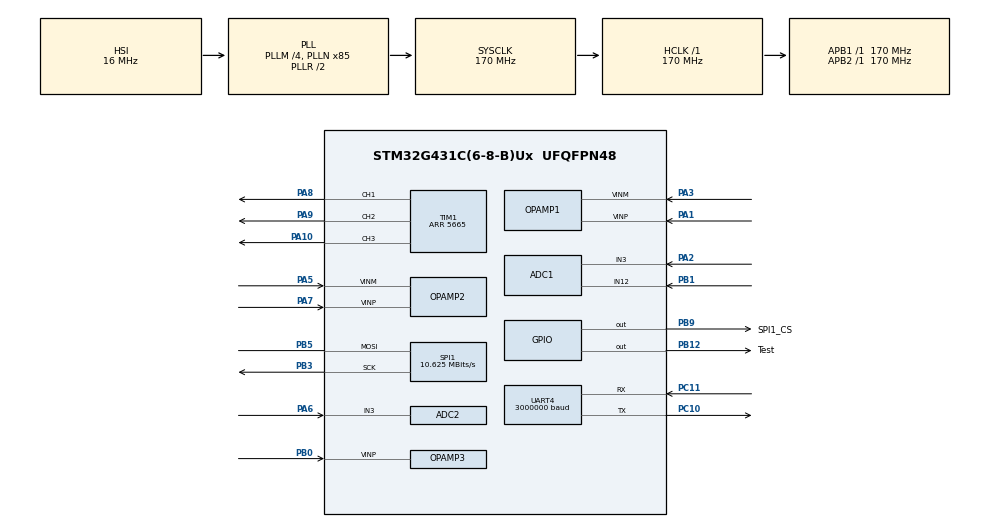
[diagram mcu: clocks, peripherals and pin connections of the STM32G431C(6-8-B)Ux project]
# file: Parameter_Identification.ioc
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ADC1.Channel-0\#ChannelRegularConversion=ADC_CHANNEL_3
ADC1.ClockPrescaler=ADC_CLOCK_SYNC_PCLK_DIV4
ADC1.EnableInjectedConversion=ENABLE
ADC1.EnableInjectedOversampling=DISABLE
ADC1.ExternalTrigInjecConv=ADC_EXTERNALTRIGINJEC_T1_CC4
ADC1.InjNumberOfConversion=2
ADC1.InjectedChannel-1\#ChannelInjectedConversion=ADC_CHANNEL_3
ADC1.InjectedChannel-2\#ChannelInjectedConversion=ADC_CHANNEL_12
ADC1.InjectedOffsetNumber-1\#ChannelInjectedConversion=ADC_OFFSET_NONE
ADC1.InjectedOffsetNumber-2\#ChannelInjectedConversion=ADC_OFFSET_NONE
ADC1.InjectedRank-1\#ChannelInjectedConversion=1
ADC1.InjectedRank-2\#ChannelInjectedConversion=2
ADC1.InjectedSamplingTime-1\#ChannelInjectedConversion=ADC_SAMPLETIME_2CYCLES_5
ADC1.InjectedSamplingTime-2\#ChannelInjectedConversion=ADC_SAMPLETIME_2CYCLES_5
ADC1.NbrOfConversionFlag=1
ADC1.OffsetNumber-0\#ChannelRegularConversion=ADC_OFFSET_NONE
ADC1.Rank-0\#ChannelRegularConversion=1
ADC1.SamplingTime-0\#ChannelRegularConversion=ADC_SAMPLETIME_640CYCLES_5
ADC1.master=1
ADC2.Channel-0\#ChannelRegularConversion=ADC_CHANNEL_3
ADC2.ClockPrescaler=ADC_CLOCK_SYNC_PCLK_DIV4
ADC2.EnableInjectedConversion=ENABLE
ADC2.EnableInjectedOversampling=DISABLE
ADC2.ExternalTrigInjecConv=ADC_EXTERNALTRIGINJEC_T1_CC4
ADC2.InjNumberOfConversion=1
ADC2.InjectedChannel-1\#ChannelInjectedConversion=ADC_CHANNEL_3
ADC2.InjectedOffsetNumber-1\#ChannelInjectedConversion=ADC_OFFSET_NONE
ADC2.InjectedRank-1\#ChannelInjectedConversion=1
ADC2.InjectedSamplingTime-1\#ChannelInjectedConversion=ADC_SAMPLETIME_2CYCLES_5
ADC2.NbrOfConversionFlag=1
ADC2.OffsetNumber-0\#ChannelRegularConversion=ADC_OFFSET_NONE
ADC2.Rank-0\#ChannelRegularConversion=1
ADC2.SamplingTime-0\#ChannelRegularConversion=ADC_SAMPLETIME_2CYCLES_5
Dma.Request0=UART4_RX
Dma.Request1=UART4_TX
Dma.UART4_RX.0.Direction=DMA_PERIPH_TO_MEMORY
Dma.UART4_RX.0.EventEnable=DISABLE
Dma.UART4_RX.0.Instance=DMA1_Channel1
Dma.UART4_RX.0.MemDataAlignment=DMA_MDATAALIGN_BYTE
Dma.UART4_RX.0.MemInc=DMA_MINC_ENABLE
Dma.UART4_RX.0.Mode=DMA_NORMAL
Dma.UART4_RX.0.PeriphDataAlignment=DMA_PDATAALIGN_BYTE
Dma.UART4_RX.0.PeriphInc=DMA_PINC_DISABLE
Dma.UART4_RX.0.Polarity=HAL_DMAMUX_REQ_GEN_RISING
Dma.UART4_RX.0.Priority=DMA_PRIORITY_LOW
Dma.UART4_RX.0.RequestNumber=1
Dma.UART4_RX.0.SignalID=NONE
Dma.UART4_RX.0.SyncEnable=DISABLE
Dma.UART4_RX.0.SyncPolarity=HAL_DMAMUX_SYNC_NO_EVENT
Dma.UART4_RX.0.SyncRequestNumber=1
Dma.UART4_RX.0.SyncSignalID=NONE
Dma.UART4_TX.1.Direction=DMA_MEMORY_TO_PERIPH
Dma.UART4_TX.1.EventEnable=DISABLE
Dma.UART4_TX.1.Instance=DMA1_Channel2
Dma.UART4_TX.1.MemDataAlignment=DMA_MDATAALIGN_BYTE
Dma.UART4_TX.1.MemInc=DMA_MINC_ENABLE
Dma.UART4_TX.1.Mode=DMA_NORMAL
Dma.UART4_TX.1.PeriphDataAlignment=DMA_PDATAALIGN_BYTE
Dma.UART4_TX.1.PeriphInc=DMA_PINC_DISABLE
Dma.UART4_TX.1.Polarity=HAL_DMAMUX_REQ_GEN_RISING
Dma.UART4_TX.1.Priority=DMA_PRIORITY_LOW
Dma.UART4_TX.1.RequestNumber=1
Dma.UART4_TX.1.SignalID=NONE
Dma.UART4_TX.1.SyncEnable=DISABLE
Dma.UART4_TX.1.SyncPolarity=HAL_DMAMUX_SYNC_NO_EVENT
Dma.UART4_TX.1.SyncRequestNumber=1
Dma.UART4_TX.1.SyncSignalID=NONE
Mcu.Family=STM32G4
Mcu.Name=STM32G431C(6-8-B)Ux
Mcu.Package=UFQFPN48
NVIC.ADC1_2_IRQn=true\:0\:0\:false\:false\:true\:true\:true\:true
NVIC.DMA1_Channel1_IRQn=true\:15\:0\:true\:false\:true\:false\:true\:true
NVIC.DMA1_Channel2_IRQn=true\:15\:0\:true\:false\:true\:false\:true\:true
NVIC.FPU_IRQn=true\:0\:0\:false\:false\:true\:true\:false\:true
NVIC.PriorityGroup=NVIC_PRIORITYGROUP_4
NVIC.TIM1_CC_IRQn=true\:1\:0\:true\:false\:true\:true\:true\:true
NVIC.TIM2_IRQn=true\:10\:0\:true\:false\:true\:true\:true\:true
NVIC.UART4_IRQn=true\:15\:0\:true\:false\:true\:false\:true\:true
PA1.Mode=Standalone
PA1.Signal=OPAMP1_VINP
PA10.Signal=S_TIM1_CH3
PA13.Mode=Serial_Wire
PA13.Signal=SYS_JTMS-SWDIO
PA14.Mode=Serial_Wire
PA14.Signal=SYS_JTCK-SWCLK
PA2.Signal=SharedAnalog_PA2
PA3.Mode=Standalone
PA3.Signal=OPAMP1_VINM
PA5.Mode=Standalone
PA5.Signal=OPAMP2_VINM
PA6.Signal=SharedAnalog_PA6
PA7.Mode=Standalone
PA7.Signal=OPAMP2_VINP
PA8.Signal=S_TIM1_CH1
PA9.Signal=S_TIM1_CH2
PB0.Mode=Follower
PB0.Signal=OPAMP3_VINP
PB1.Signal=SharedAnalog_PB1
PB12.GPIO_Label=Test
PB12.Signal=GPIO_Output
PB3.Mode=Simplex_Bidirectional_Master
PB3.Signal=SPI1_SCK
PB5.Mode=Simplex_Bidirectional_Master
PB5.Signal=SPI1_MOSI
PB9.GPIO_Label=SPI1_CS
PB9.Signal=GPIO_Output
PC10.Mode=Asynchronous
PC10.Signal=UART4_TX
PC11.Mode=Asynchronous
PC11.Signal=UART4_RX
PC14-OSC32_IN.Mode=LSE-External-Oscillator
PC14-OSC32_IN.Signal=RCC_OSC32_IN
PC15-OSC32_OUT.Mode=LSE-External-Oscillator
PC15-OSC32_OUT.Signal=RCC_OSC32_OUT
PF0-OSC_IN.Mode=HSE-External-Oscillator
PF0-OSC_IN.Signal=RCC_OSC_IN
PF1-OSC_OUT.Mode=HSE-External-Oscillator
PF1-OSC_OUT.Signal=RCC_OSC_OUT
ProjectManager.HeapSize=0x200
ProjectManager.StackSize=0x400
ProjectManager.TargetToolchain=CMake
RCC.ADC12Freq_Value=170000000
RCC.AHBFreq_Value=170000000
RCC.APB1Freq_Value=170000000
RCC.APB1TimFreq_Value=170000000
RCC.APB2Freq_Value=170000000
RCC.APB2TimFreq_Value=170000000
RCC.CortexFreq_Value=170000000
RCC.EXTERNAL_CLOCK_VALUE=12288000
RCC.HCLKFreq_Value=170000000
RCC.HSE_VALUE=8000000
RCC.HSI48_VALUE=48000000
RCC.HSI_VALUE=16000000
RCC.PLLM=RCC_PLLM_DIV4
RCC.PLLN=85
RCC.SYSCLKFreq_VALUE=170000000
RCC.SYSCLKSource=RCC_SYSCLKSOURCE_PLLCLK
RCC.USBFreq_Value=170000000
RCC.VCOOutputFreq_Value=340000000
SH.S_TIM1_CH1.0=TIM1_CH1,PWM Generation1 CH1
SH.S_TIM1_CH2.0=TIM1_CH2,PWM Generation2 CH2
SH.S_TIM1_CH3.0=TIM1_CH3,PWM Generation3 CH3
SH.SharedAnalog_PA2.0=ADC1_IN3,IN3-Single-Ended
SH.SharedAnalog_PA2.1=OPAMP1_VOUT,Standalone
SH.SharedAnalog_PA6.0=ADC2_IN3,IN3-Single-Ended
SH.SharedAnalog_PA6.1=OPAMP2_VOUT,Standalone
SH.SharedAnalog_PB1.0=ADC1_IN12,IN12-Single-Ended
SH.SharedAnalog_PB1.1=OPAMP3_VOUT,Follower
SPI1.BaudRatePrescaler=SPI_BAUDRATEPRESCALER_16
SPI1.CLKPhase=SPI_PHASE_2EDGE
SPI1.CalculateBaudRate=10.625 MBits/s
SPI1.DataSize=SPI_DATASIZE_16BIT
SPI1.Direction=SPI_DIRECTION_1LINE
SPI1.Mode=SPI_MODE_MASTER
SPI1.VirtualType=VM_MASTER
STMicroelectronics.X-CUBE-ALGOBUILD.1.4.0.LibraryCcDSPOoLibraryJjDSPOoLibrary=true
TIM1.Channel-PWM\ Generation1\ CH1=TIM_CHANNEL_1
TIM1.Channel-PWM\ Generation2\ CH2=TIM_CHANNEL_2
TIM1.Channel-PWM\ Generation3\ CH3=TIM_CHANNEL_3
TIM1.Channel-PWM\ Generation4\ No\ Output=TIM_CHANNEL_4
TIM1.CounterMode=TIM_COUNTERMODE_CENTERALIGNED3
TIM1.OCMode_PWM-PWM\ Generation4\ No\ Output=TIM_OCMODE_PWM2
TIM1.PeriodNoDither=5665
TIM1.PulseNoDither_4=5664
TIM1.TIM_MasterOutputTrigger=TIM_TRGO_OC4REF
TIM2.PeriodNoDither=170000-1
TIM2.Prescaler=0
UART4.BaudRate=3000000
UART4.Parity=PARITY_EVEN
UART4.WordLength=WORDLENGTH_9B
VP_STMicroelectronics.X-CUBE-ALGOBUILD_VS_DSPOoLibraryJjLibrary_1.4.0_1.4.0.Mode=DSPOoLibraryJjLibrary
VP_SYS_VS_DBSignals.Mode=DisableDeadBatterySignals
VP_TIM1_VS_ClockSourceINT.Mode=Internal
VP_TIM1_VS_no_output4.Mode=PWM Generation4 No Output
VP_TIM2_VS_ClockSourceINT.Mode=Internal
board=custom

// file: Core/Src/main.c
/* USER CODE BEGIN Header */
/**
 ******************************************************************************
 * @file           : main.c
 * @brief          : Main program body
 ******************************************************************************
 * @attention
 *
 * Copyright (c) 2026 STMicroelectronics.
 * All rights reserved.
 *
 * This software is licensed under terms that can be found in the LICENSE file
 * in the root directory of this software component.
 * If no LICENSE file comes with this software, it is provided AS-IS.
 *
 ******************************************************************************
 */
/* USER CODE END Header */
#include "main.h"
#include "adc.h"
#include "dma.h"
#include "opamp.h"
#include "spi.h"
#include "tim.h"
#include "usart.h"
#include "gpio.h"

/* USER CODE BEGIN Includes */

#include "MY_CALLBACK.h"
#include "MY_CONTROL.h"
#include "MY_JUSTFLOAT.h"
#include "MY_TLE5012B.h"
#include "stdbool.h"

/* USER CODE END Includes */

/* USER CODE BEGIN PV */

// ADC采样原始数据
uint32_t ADC_Data[3] = {0, 0, 0};
// ADC采样转换后电流数据
float Current_abc[3] = {0, 0, 0};
// 机械角度
float theta_m = 0;
float theta_m_last = 0;
// 电角度
float theta_e = 0;
float Sin_theta_e = 0;
float Cos_theta_e = 0;
// 机械角速度
float n_m = 0;
float n_m_last = 0;
// 电角速度（所有模式均在速度回调中计算）
float we = 0;
// 零位偏置
float ADC1_ZERO = 0;
float ADC2_ZERO = 0;
float Angel_ZERO = 0;
// 两相静止坐标系电流
float I_alpha = 0;
float I_beta = 0;
// 同步旋转坐标系电流
float I_d = 0;
float I_q = 0;
// SVPWM得到的三相占空比
float Duty_A = 0;
float Duty_B = 0;
float Duty_C = 0;
// 母线电压
float Udc = U_DC_Default;
// SVPWM最大电压
float U_svpwm_max = U_DC_Default / SQRT3;
// DQ轴驱动电压
float U_d = Ud_Default;
float U_q = Uq_Default;
// DQ轴给定电流
float I_d_Target = ID_Target_Default;
float I_q_Target = IQ_Target_Default;
// 电流-速度环线性控制器
Discrete_Controller_Struct D_Controller, Q_Controller, Speed_Controller;
// 指令接收全局变量
uint8_t UART_Buffer[UART_RX_BUF_SIZE];
float Order = 0;
uint16_t UART_Length = 0;
// 电流环运行标志位
bool Current_Control_Flag = false;

// ════════════════════════════════════════════════════════════════
// 模式相关变量（编译期按需分配）
// ════════════════════════════════════════════════════════════════

// 状态计数器 — 模式 1~12
#if Identification_Mode_Default != 13
int counter = 0;
#endif

// 伪随机辨识结束标志位 — 模式 3,5,6,7,8,9
#if Identification_Mode_Default == 3  || Identification_Mode_Default == 5  || \
    Identification_Mode_Default == 6  || Identification_Mode_Default == 7  || \
    Identification_Mode_Default == 8  || Identification_Mode_Default == 9
bool HK_END = false;
#endif

// PRBS 本原多项式反馈位 — 模式 3,5,10
#if Identification_Mode_Default == 3  || Identification_Mode_Default == 5  || \
    Identification_Mode_Default == 10
const uint8_t taps[] = {9, 0}; // x^11 + x^9 + 1
const uint8_t tap_cnt = sizeof(taps) / sizeof(taps[0]);
#endif

// M序列和输出序列 — 模式 3,5,6,7,8,9,10,11,12
#if Identification_Mode_Default == 3  || Identification_Mode_Default == 5  || \
    Identification_Mode_Default == 6  || Identification_Mode_Default == 7  || \
    Identification_Mode_Default == 8  || Identification_Mode_Default == 9  || \
    Identification_Mode_Default == 10 || Identification_Mode_Default == 11 || \
    Identification_Mode_Default == 12
uint16_t m_seq[((1 << PRBS_N) - 1) * PRBS_n];
float Output_D[((1 << PRBS_N) - 1) * PRBS_n];
float Output_Q[((1 << PRBS_N) - 1) * PRBS_n];
float Output_theta_e[((1 << PRBS_N) - 1) * PRBS_n];
#endif

// 反电动势前馈变量 — 模式 10,11,12,13
#if Identification_Mode_Default >= 10
float E_D_ff = 0;
float E_D_ff_last = 0;
#endif
#if Identification_Mode_Default == 12 || Identification_Mode_Default == 13
float E_Q_ff = 0;
float E_Q_ff_last = 0;
#endif

// 永磁体磁链 — 所有模式（JUSTFLOAT 注册）
float Psi = 0;

// 磁链滑动窗口 — 仅模式 4
#if Identification_Mode_Default == 4
float Psi_Win[10] = {0};
#endif

/* USER CODE END PV */

void SystemClock_Config(void);

int main(void)
{

  /* MCU Configuration--------------------------------------------------------*/

  /* Reset of all peripherals, Initializes the Flash interface and the Systick. */
  HAL_Init();

  /* Configure the system clock */
  SystemClock_Config();

  /* Initialize all configured peripherals */
  MX_GPIO_Init();
  MX_DMA_Init();
  MX_ADC1_Init();
  MX_ADC2_Init();
  MX_OPAMP1_Init();
  MX_OPAMP2_Init();
  MX_OPAMP3_Init();
  MX_SPI1_Init();
  MX_TIM1_Init();
  MX_TIM2_Init();
  MX_UART4_Init();
  /* USER CODE BEGIN 2 */

    // ════════════════════════════════════════════════════════════════
    // 激励信号生成（编译期按需编译）
    // ════════════════════════════════════════════════════════════════

    // ── PRBS 序列生成：模式 3,5,10 ──
#if Identification_Mode_Default == 3  || Identification_Mode_Default == 5  || \
    Identification_Mode_Default == 10
    {
        uint32_t lfsr = LFSR_INIT;
        uint32_t period = (1 << PRBS_N) - 1;
        uint32_t seq_idx = 0;
        for (uint8_t cyc = 0; cyc < PRBS_n; cyc++)
        {
            for (uint32_t i = 0; i < period; i++)
            {
                uint32_t fb = 0;
                for (uint8_t t = 0; t < tap_cnt; t++)
                {
                    fb ^= (lfsr >> taps[t]) & 0x01;
                }
                m_seq[seq_idx++] = (lfsr & 0x01);
                lfsr = (lfsr >> 1) | (fb << (PRBS_N - 1));
            }
        }
    }
#endif

    // ── 方波信号生成：模式 6,7,8,9,11,12 ──
#if Identification_Mode_Default == 6  || Identification_Mode_Default == 7  || \
    Identification_Mode_Default == 8  || Identification_Mode_Default == 9  || \
    Identification_Mode_Default == 11 || Identification_Mode_Default == 12
    {
        uint32_t period = ((1 << PRBS_N) - 1) * PRBS_n;
        uint32_t seq_idx = 0;
        for (seq_idx = 0; seq_idx < period; seq_idx++)
        {
            if (seq_idx < Square_Start_Index || seq_idx >= (Square_Start_Index + Square_Period))
            {
                m_seq[seq_idx] = 0;
            }
            else
            {
                m_seq[seq_idx] = 1;
            }
        }
    }
#endif

    HAL_UARTEx_ReceiveToIdle_DMA(&huart4, UART_Buffer, UART_RX_BUF_SIZE);
    // 线性控制器结构体初始化
    Controller_Init(D_a1, D_a2, D_a3, D_a4, D_a5, D_b0, D_b1, D_b2, D_b3, D_b4, D_b5,
                    ID_Target_Default, &D_Controller);
    Controller_Init(Q_a1, Q_a2, Q_a3, Q_a4, Q_a5, Q_b0, Q_b1, Q_b2, Q_b3, Q_b4, Q_b5,
                    IQ_Target_Default, &Q_Controller);
    Controller_Init(Speed_a1, Speed_a2, Speed_a3, Speed_a4, Speed_a5,
                    Speed_b0, Speed_b1, Speed_b2, Speed_b3, Speed_b4, Speed_b5, Speed_Target_Default, &Speed_Controller);
    // 使能模拟运算放大器
    HAL_OPAMP_Start(&hopamp1);
    HAL_OPAMP_Start(&hopamp2);
    HAL_OPAMP_Start(&hopamp3);

    // 开启两个ADC校验
    HAL_ADCEx_Calibration_Start(&hadc1, ADC_SINGLE_ENDED);
    HAL_ADCEx_Calibration_Start(&hadc2, ADC_SINGLE_ENDED);
    for (int i = 0; i < 10; i++)
    {
      // ADC零位检测
      HAL_ADCEx_Calibration_Start(&hadc1, ADC_SINGLE_ENDED);
      HAL_ADCEx_Calibration_Start(&hadc2, ADC_SINGLE_ENDED);
      HAL_ADC_Start(&hadc1);
      if (HAL_ADC_PollForConversion(&hadc1, HAL_MAX_DELAY) == HAL_OK)
      {
        ADC1_ZERO += HAL_ADC_GetValue(&hadc1) / 4096.0 * 3.3;
      }
      HAL_ADC_Start(&hadc2);
      if (HAL_ADC_PollForConversion(&hadc2, HAL_MAX_DELAY) == HAL_OK)
      {
        ADC2_ZERO += HAL_ADC_GetValue(&hadc2) / 4096.0 * 3.3;
      }
    }
    ADC1_ZERO = ADC1_ZERO / 10.0;
    ADC2_ZERO = ADC2_ZERO / 10.0;
    // 使能ADC注入组转换
    HAL_ADCEx_InjectedStart_IT(&hadc1);
    HAL_ADCEx_InjectedStart_IT(&hadc2);

    // 使能定时器
    HAL_TIM_Base_Start(&htim1);
    // 三相PWM输出
    HAL_TIM_PWM_Start(&htim1, TIM_CHANNEL_1);
    HAL_TIM_PWM_Start(&htim1, TIM_CHANNEL_2);
    HAL_TIM_PWM_Start(&htim1, TIM_CHANNEL_3);

    // 编码器零位校准
    int k = 0;
    U_d = U_svpwm_max;
    while(k<10)
    {
      //A相
      Set_CCR(0.9,0.1,0.1);
      HAL_Delay(500);
      theta_e = TLE5012B_Angle() * MOTOR_POLE_PAIRS;
      theta_e = fmod(theta_e, 360);
      theta_e<0?theta_e+=360:theta_e;
      Angel_ZERO += 360 - theta_e;
      //B相
      Set_CCR(0.1,0.9,0.1);
      HAL_Delay(500);
      theta_e = TLE5012B_Angle() * MOTOR_POLE_PAIRS - 120;
      theta_e = fmod(theta_e, 360);
      theta_e<0?theta_e+=360:theta_e;
      Angel_ZERO += 360 - theta_e;
      //C相
      Set_CCR(0.1,0.1,0.9);
      HAL_Delay(500);
      theta_e = TLE5012B_Angle() * MOTOR_POLE_PAIRS + 120;
      theta_e = fmod(theta_e, 360);
      theta_e<0?theta_e+=360:theta_e;
      Angel_ZERO += 360 - theta_e;
      //计算零位
      Angel_ZERO = Angel_ZERO / 3;
      //验证
      theta_m_last = TLE5012B_Angle();
      for (int i = 0; i < 100; i++)
      {
        theta_e = TLE5012B_Angle();
        theta_e = theta_e * MOTOR_POLE_PAIRS + Angel_ZERO;
        DSP_Float_Calc_SinCos(theta_e, &Sin_theta_e, &Cos_theta_e);
        SVPWM_Calculation(&U_d, &U_q, Sin_theta_e, Cos_theta_e, U_svpwm_max, Udc, &Duty_A, &Duty_B, &Duty_C);
        Set_CCR(Duty_A, Duty_B, Duty_C);
      }
      theta_m = TLE5012B_Angle();
      n_m = (1 - Speed_Filter) * (theta_m - theta_m_last) + Speed_Filter * n_m;
      U_d = 0;
      if (n_m < 0.5 && n_m > -0.5)
      {
        break;
      }
      else {
        k++;
        Angel_ZERO = 0;
      }
    }
  //统一采用0°零位
  Angel_ZERO = 0;

    // 电流环控制中断
    HAL_TIM_PWM_Start_IT(&htim1, TIM_CHANNEL_4);
    // 速度环控制中断
    HAL_TIM_Base_Start_IT(&htim2);

    // 初始化 JUSTFLOAT
    JUSTFLOAT_Init();
    // 绑定串口
    JUSTFLOAT_BindUart(&huart4);
    // 注册变量表
    JUSTFLOAT_AddData(&theta_m);
    JUSTFLOAT_AddData(&theta_e);
    JUSTFLOAT_AddData(&n_m);
    JUSTFLOAT_AddData(&Udc);
    JUSTFLOAT_AddData(&I_d);
    JUSTFLOAT_AddData(&I_q);
    JUSTFLOAT_AddData(&Angel_ZERO);
    JUSTFLOAT_AddData(&U_d);
    JUSTFLOAT_AddData(&U_q);
    JUSTFLOAT_AddData(&D_Controller.Setvalue);
    JUSTFLOAT_AddData(&Q_Controller.Setvalue);
    JUSTFLOAT_AddData(&Speed_Controller.Setvalue);
    JUSTFLOAT_AddData(&Current_abc[0]);
    JUSTFLOAT_AddData(&Current_abc[1]);
    JUSTFLOAT_AddData(&Current_abc[2]);
#if Identification_Mode_Default == 4
    JUSTFLOAT_AddData(&Psi);
#endif

  /* USER CODE END 2 */

  /* Infinite loop */
    while (1)
    {

    }
}

void SystemClock_Config(void)
{
  RCC_OscInitTypeDef RCC_OscInitStruct = {0};
  RCC_ClkInitTypeDef RCC_ClkInitStruct = {0};

  /** Configure the main internal regulator output voltage
  */
  HAL_PWREx_ControlVoltageScaling(PWR_REGULATOR_VOLTAGE_SCALE1_BOOST);

  /** Initializes the RCC Oscillators according to the specified parameters
  * in the RCC_OscInitTypeDef structure.
  */
  RCC_OscInitStruct.OscillatorType = RCC_OSCILLATORTYPE_HSI;
  RCC_OscInitStruct.HSIState = RCC_HSI_ON;
  RCC_OscInitStruct.HSICalibrationValue = RCC_HSICALIBRATION_DEFAULT;
  RCC_OscInitStruct.PLL.PLLState = RCC_PLL_ON;
  RCC_OscInitStruct.PLL.PLLSource = RCC_PLLSOURCE_HSI;
  RCC_OscInitStruct.PLL.PLLM = RCC_PLLM_DIV4;
  RCC_OscInitStruct.PLL.PLLN = 85;
  RCC_OscInitStruct.PLL.PLLP = RCC_PLLP_DIV2;
  RCC_OscInitStruct.PLL.PLLQ = RCC_PLLQ_DIV2;
  RCC_OscInitStruct.PLL.PLLR = RCC_PLLR_DIV2;
  if (HAL_RCC_OscConfig(&RCC_OscInitStruct) != HAL_OK)
  {
    Error_Handler();
  }

  /** Initializes the CPU, AHB and APB buses clocks
  */
  RCC_ClkInitStruct.ClockType = RCC_CLOCKTYPE_HCLK|RCC_CLOCKTYPE_SYSCLK
                              |RCC_CLOCKTYPE_PCLK1|RCC_CLOCKTYPE_PCLK2;
  RCC_ClkInitStruct.SYSCLKSource = RCC_SYSCLKSOURCE_PLLCLK;
  RCC_ClkInitStruct.AHBCLKDivider = RCC_SYSCLK_DIV1;
  RCC_ClkInitStruct.APB1CLKDivider = RCC_HCLK_DIV1;
  RCC_ClkInitStruct.APB2CLKDivider = RCC_HCLK_DIV1;

  if (HAL_RCC_ClockConfig(&RCC_ClkInitStruct, FLASH_LATENCY_4) != HAL_OK)
  {
    Error_Handler();
  }
}

void Error_Handler(void)
{
    __disable_irq();
    while (1)
    {
    }
}
